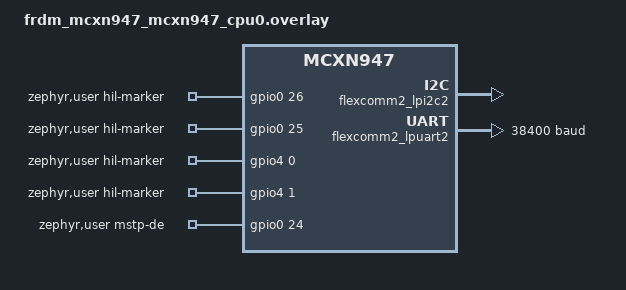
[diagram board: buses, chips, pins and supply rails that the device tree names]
/*
 * SPDX-License-Identifier: Apache-2.0
 *
 * HIL snippet (-S hil), FRDM-MCXN947 cpu0 DUT (profile P1), Zephyr v4.4.2.
 * Applies to both apps (firmware/ BACnet and apps/mqtt_tls): it references
 * only SoC/board nodes, never &uc_io.
 *
 *   function     MCU     FRDM pin  Arduino  notes
 *   MS/TP TX     P4_2    J1-4      D1       FC2_P2 = LPUART2 TXD (combined LPI2C+LPUART mode) -> DI
 *   MS/TP RX     P4_3    J1-2      D0       FC2_P3 = LPUART2 RXD <- RO through 2.2 kOhm, pad pull-up
 *   MS/TP DE     P0_24   J2-8      D11      GPIO push-pull, 1 = drive; DE and /RE tied;
 *                                           10 kOhm pull-down on the DE net (pad is DIS after reset)
 *   marker m0    P0_26   J2-10     D12      GPIO, 100 kOhm pull-down on the rig side
 *   marker m1    P0_25   J2-12     D13
 *   marker m2    P4_0    J2-18     SDA      FC2_P0 pad, never muxed while CONFIG_I2C=n
 *   marker m3    P4_1    J2-20     SCL      FC2_P1 pad, never muxed while CONFIG_I2C=n
 *   GND                  J2-14, J3-12, J3-14
 *
 * Not in devicetree (rig side only): RESET_B at J3-6 (Arduino RESET), the switched
 * MCU rail VDD_ANA at J2-16 (Arduino AREF), the J24 load switch.
 */

#include <zephyr/dt-bindings/gpio/gpio.h>

/*
 * LPUART2 TXD/RXD are on FC2_P2/FC2_P3 (P4_2/P4_3) only while LP_FLEXCOMM2 runs
 * in the combined LPI2C+LPUART mode. mfd_nxp_lp_flexcomm.c selects that mode
 * from the devicetree status of the children (lpuart2 okay AND lpi2c2 okay),
 * not from Kconfig. Disabling lpi2c2 would switch FC2 to LPUART-only mode, in
 * which the UART signals move to other FC2 pins. So lpi2c2 stays okay (board
 * default); with CONFIG_I2C=n (both apps) its driver is not built and P4_0/P4_1
 * stay free for the markers m2/m3.
 */
&flexcomm2_lpi2c2 {
	status = "okay";
};

&flexcomm2_lpuart2 {
	/* board pinctrl pinmux_flexcomm2_lpuart: P4_2 TX, P4_3 RX, bias-pull-up */
	current-speed = <38400>;
	status = "okay";
};

/* DAC0_OUT is P4_2 (board pinmux_dac0): it must never take the MS/TP TX pin. */
&dac0 {
	status = "disabled";
};

/*
 * LPSPI1 (arduino_spi) would mux P0_24..P0_27 = DE, m1, m0 and the green LED
 * (catalog do1) as soon as some build enables CONFIG_SPI.
 */
&flexcomm1_lpspi1 {
	status = "disabled";
};

/ {
	aliases {
		mstp-uart0 = &flexcomm2_lpuart2;
	};

	zephyr,user {
		hil-marker-gpios = <&gpio0 26 GPIO_ACTIVE_HIGH>,
				   <&gpio0 25 GPIO_ACTIVE_HIGH>,
				   <&gpio4 0 GPIO_ACTIVE_HIGH>,
				   <&gpio4 1 GPIO_ACTIVE_HIGH>;
		/* software driver enable for the MS/TP port (BACnet roadmap 3.1) */
		mstp-de-gpios = <&gpio0 24 GPIO_ACTIVE_HIGH>;
	};
};
